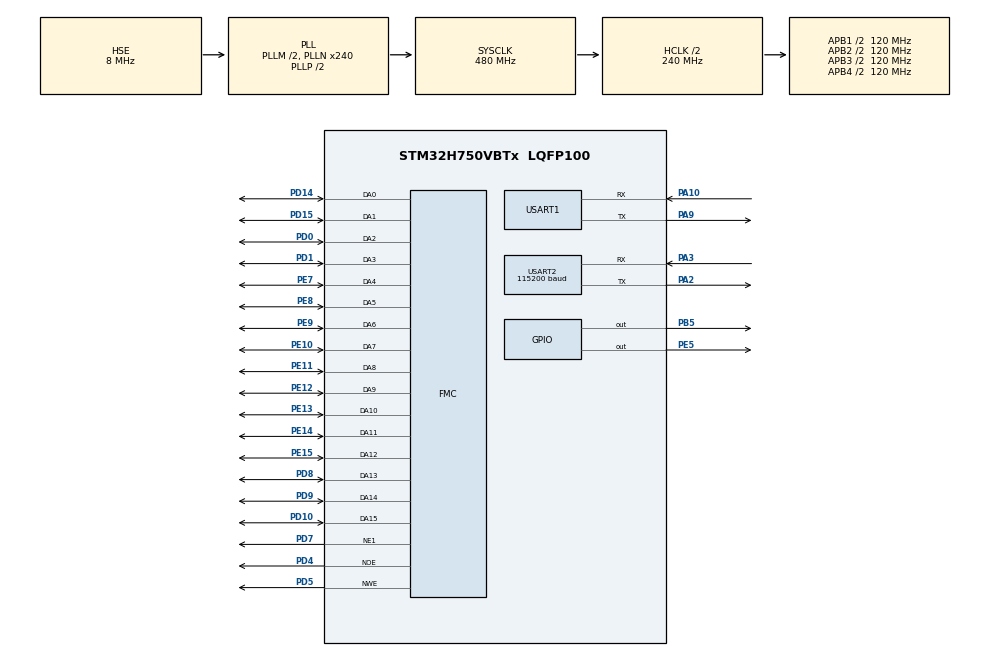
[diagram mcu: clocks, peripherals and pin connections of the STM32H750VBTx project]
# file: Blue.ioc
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ADC1.Channel-1\#ChannelRegularConversion=ADC_CHANNEL_10
ADC1.ClockPrescaler=ADC_CLOCK_ASYNC_DIV32
ADC1.ConversionDataManagement=ADC_CONVERSIONDATA_DR
ADC1.NbrOfConversionFlag=1
ADC1.OffsetNumber-1\#ChannelRegularConversion=ADC_OFFSET_NONE
ADC1.OffsetSignedSaturation-1\#ChannelRegularConversion=DISABLE
ADC1.Rank-1\#ChannelRegularConversion=1
ADC1.SamplingTime-1\#ChannelRegularConversion=ADC_SAMPLETIME_810CYCLES_5
ADC1.master=1
CORTEX_M7.default_mode_Activation=1
Mcu.Family=STM32H7
Mcu.Name=STM32H750VBTx
Mcu.Package=LQFP100
NVIC.PriorityGroup=NVIC_PRIORITYGROUP_4
NVIC.USART1_IRQn=true\:5\:0\:false\:false\:true\:true\:true\:true
PA10.Mode=Asynchronous
PA10.Signal=USART1_RX
PC0.Signal=ADC1_IN10
PA2.Mode=Asynchronous
PA2.Signal=USART2_TX
PA3.Mode=Asynchronous
PA3.Signal=USART2_RX
PA9.Mode=Asynchronous
PA9.Signal=USART1_TX
PB5.Signal=GPIO_Output
PD0.Signal=FMC_D2_DA2
PD1.Signal=FMC_D3_DA3
PD10.Signal=FMC_D15_DA15
PD14.Signal=FMC_D0_DA0
PD15.Signal=FMC_D1_DA1
PD4.Signal=FMC_NOE
PD5.Signal=FMC_NWE
PD7.Mode=NorPsramChipSelect1_1
PD7.Signal=FMC_NE1
PD8.Signal=FMC_D13_DA13
PD9.Signal=FMC_D14_DA14
PE10.Signal=FMC_D7_DA7
PE11.Signal=FMC_D8_DA8
PE12.Signal=FMC_D9_DA9
PE13.Signal=FMC_D10_DA10
PE14.Signal=FMC_D11_DA11
PE15.Signal=FMC_D12_DA12
PE3.Signal=FMC_A19
PE5.Signal=GPIO_Output
PE7.Signal=FMC_D4_DA4
PE8.Signal=FMC_D5_DA5
PE9.Signal=FMC_D6_DA6
PH0-OSC_IN\ (PH0).Mode=HSE-External-Oscillator
PH0-OSC_IN\ (PH0).Signal=RCC_OSC_IN
PH1-OSC_OUT\ (PH1).Mode=HSE-External-Oscillator
PH1-OSC_OUT\ (PH1).Signal=RCC_OSC_OUT
ProjectManager.HeapSize=0x200
ProjectManager.StackSize=0x400
ProjectManager.TargetToolchain=MDK-ARM V5.32
RCC.ADCFreq_Value=220000000
RCC.APB1Freq_Value=120000000
RCC.APB2Freq_Value=120000000
RCC.APB3Freq_Value=120000000
RCC.APB4Freq_Value=120000000
RCC.CortexFreq_Value=480000000
RCC.D1PPRE=RCC_APB3_DIV2
RCC.D2PPRE1=RCC_APB1_DIV2
RCC.D2PPRE2=RCC_APB2_DIV2
RCC.D3PPRE=RCC_APB4_DIV2
RCC.DIVM1=2
RCC.DIVM2=8
RCC.DIVN1=240
RCC.DIVN2=440
RCC.FMCCLockSelection=RCC_FMCCLKSOURCE_PLL2
RCC.HCLKFreq_Value=240000000
RCC.HPRE=RCC_HCLK_DIV2
RCC.HSE_VALUE=8000000
RCC.PLLSourceVirtual=RCC_PLLSOURCE_HSE
RCC.SYSCLKFreq_VALUE=480000000
RCC.SYSCLKSource=RCC_SYSCLKSOURCE_PLLCLK
RCC.USBFreq_Value=480000000
SH.FMC_A19.0=FMC_A19
SH.FMC_D0_DA0.0=FMC_DA0,16b-da1
SH.FMC_D10_DA10.0=FMC_DA10,16b-da1
SH.FMC_D11_DA11.0=FMC_DA11,16b-da1
SH.FMC_D12_DA12.0=FMC_DA12,16b-da1
SH.FMC_D13_DA13.0=FMC_DA13,16b-da1
SH.FMC_D14_DA14.0=FMC_DA14,16b-da1
SH.FMC_D15_DA15.0=FMC_DA15,16b-da1
SH.FMC_D1_DA1.0=FMC_DA1,16b-da1
SH.FMC_D2_DA2.0=FMC_DA2,16b-da1
SH.FMC_D3_DA3.0=FMC_DA3,16b-da1
SH.FMC_D4_DA4.0=FMC_DA4,16b-da1
SH.FMC_D5_DA5.0=FMC_DA5,16b-da1
SH.FMC_D6_DA6.0=FMC_DA6,16b-da1
SH.FMC_D7_DA7.0=FMC_DA7,16b-da1
SH.FMC_D8_DA8.0=FMC_DA8,16b-da1
SH.FMC_D9_DA9.0=FMC_DA9,16b-da1
SH.FMC_NOE.0=FMC_NOE,MuxedPsram1
SH.FMC_NWE.0=FMC_NWE,MuxedPsram1
USART1.VirtualMode-Asynchronous=VM_ASYNC
USART2.BaudRate=115200
USART2.VirtualMode-Asynchronous=VM_ASYNC
USART2.WordLength=UART_WORDLENGTH_8B
USART2.StopBits=UART_STOPBITS_1
USART2.Parity=UART_PARITY_NONE
USART2.Mode=UART_MODE_TX_RX
USART2.OverSampling=UART_OVERSAMPLING_16
USART2.OneBitSampling=UART_ONE_BIT_SAMPLE_DISABLE
USART2.ClockPrescaler=UART_PRESCALER_DIV1
VP_MEMORYMAP_VS_MEMORYMAP.Mode=CurAppReg
board=custom

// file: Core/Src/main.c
/* USER CODE BEGIN Header */
/**
  ******************************************************************************
  * @file           : main.c
  * @brief          : Main program body
  ******************************************************************************
  * @attention
  *
  * Copyright (c) 2026 STMicroelectronics.
  * All rights reserved.
  *
  * This software is licensed under terms that can be found in the LICENSE file
  * in the root directory of this software component.
  * If no LICENSE file comes with this software, it is provided AS-IS.
  *
  ******************************************************************************
  */
/* USER CODE END Header */
#include "main.h"
#include "usart.h"
#include "gpio.h"
#include "fmc.h"
#include "adc.h"

/* USER CODE BEGIN Includes */
#include <stdio.h>
#include "lcd.h"
#include "led.h"
#include "mpu.h"
#include "Delay.h"
#include "BoardComm_User.h"
#include "LcrAuto_User.h"
#include "LcrDualAdc_User.h"
#include "LcrCalibration_User.h"
#include "UsbCdc_User.h"
#include "SpectrumDisplay_User.h"
#include "AGC_DAC_User.h"
#include "FpgaUart_User.h"
#include "BluetoothLink_User.h"
/* USER CODE END Includes */

void SystemClock_Config(void);
static void MPU_Config(void);

/* USER CODE BEGIN 0 */
static char HexNibble(uint8_t value)
{
  value &= 0x0FU;
  return (value < 10U) ? (char)('0' + value) : (char)('A' + value - 10U);
}

static char PrintableChar(uint8_t value)
{
  return ((value >= 0x20U) && (value <= 0x7EU)) ? (char)value : '.';
}

static void FormatPayloadHex(char *line, uint8_t line_size, const uint8_t *data, uint8_t len)
{
  uint8_t pos = 0;
  uint8_t show_len = len;

  if ((line == 0) || (line_size == 0U))
  {
    return;
  }

  if (show_len > 8U)
  {
    show_len = 8U;
  }

  line[pos++] = 'D';
  line[pos++] = ':';

  if (show_len == 0U)
  {
    if (pos < (line_size - 1U))
    {
      line[pos++] = '-';
    }
  }

  for (uint8_t i = 0; (i < show_len) && ((pos + 3U) < line_size); i++)
  {
    if (i != 0U)
    {
      line[pos++] = ' ';
    }

    line[pos++] = HexNibble(data[i] >> 4);
    line[pos++] = HexNibble(data[i]);
  }

  if ((len > show_len) && ((pos + 3U) < line_size))
  {
    line[pos++] = '.';
    line[pos++] = '.';
    line[pos++] = '.';
  }

  line[pos] = '\0';
}

static uint8_t IsDigitKey(char key)
{
  return ((key >= '0') && (key <= '9')) ? 1U : 0U;
}

/* USER CODE END 0 */

int main(void)
{

  /* MPU Configuration--------------------------------------------------------*/
  MPU_Config();

  /* MCU Configuration--------------------------------------------------------*/

  /* Reset of all peripherals, Initializes the Flash interface and the Systick. */
  HAL_Init();

  /* USER CODE BEGIN Init */
  SCB_EnableICache();
  SCB_EnableDCache();
  SCB->CACR |= 1 << 2;    /* 强制D-Cache透写 */
  /* USER CODE END Init */

  /* Configure the system clock */
  SystemClock_Config();

  /* Initialize all configured peripherals */
  MX_GPIO_Init();
  MX_FMC_Init();
  MX_USART1_UART_Init();
  MX_USART2_UART_Init();
  MX_ADC1_Init();
  /* USER CODE BEGIN 2 */
  Delay_Init();
  led_init();
  mpu_memory_protection();
  lcd_init();
  (void)AGC_DAC_Init();
  LcrDualAdc_Init();
  LcrAuto_Init();
  LcrCalibration_Init();
  (void)UsbCdc_Init();
  BoardComm_Init();
  (void)BoardComm_StartReceiveToIdleIT();
  FpgaUart_Init();

	lcd_display_dir(1);

	/* Target AGC output is 1 V; the fitted transfer function sets PA5 to about 2.034 V. */
	AGC_DAC_SetTargetOutputMv(1000.0f);
  BluetoothLink_Init();
  /* USER CODE END 2 */

  /* Infinite loop */
  while (1)
  {

    /* USER CODE BEGIN 3 */
    BoardComm_ProcessTask();
    LcrAuto_Task();
    LcrCalibration_Task();
    LcrCalibration_UsbTask();
    UsbCdc_Task();
    FpgaUart_Task();
    BluetoothLink_Task();
    HAL_Delay(10);
  }
  /* USER CODE END 3 */
}

void SystemClock_Config(void)
{
  RCC_OscInitTypeDef RCC_OscInitStruct = {0};
  RCC_ClkInitTypeDef RCC_ClkInitStruct = {0};

  /** Supply configuration update enable
  */
  HAL_PWREx_ConfigSupply(PWR_LDO_SUPPLY);

  /** Configure the main internal regulator output voltage
  */
  __HAL_PWR_VOLTAGESCALING_CONFIG(PWR_REGULATOR_VOLTAGE_SCALE0);

  while(!__HAL_PWR_GET_FLAG(PWR_FLAG_VOSRDY)) {}

  /** Initializes the RCC Oscillators according to the specified parameters
  * in the RCC_OscInitTypeDef structure.
  */
  RCC_OscInitStruct.OscillatorType = RCC_OSCILLATORTYPE_HSE;
  RCC_OscInitStruct.HSEState = RCC_HSE_ON;
  RCC_OscInitStruct.PLL.PLLState = RCC_PLL_ON;
  RCC_OscInitStruct.PLL.PLLSource = RCC_PLLSOURCE_HSE;
  RCC_OscInitStruct.PLL.PLLM = 2;
  RCC_OscInitStruct.PLL.PLLN = 240;
  RCC_OscInitStruct.PLL.PLLP = 2;
  RCC_OscInitStruct.PLL.PLLQ = 2;
  RCC_OscInitStruct.PLL.PLLR = 2;
  RCC_OscInitStruct.PLL.PLLRGE = RCC_PLL1VCIRANGE_2;
  RCC_OscInitStruct.PLL.PLLVCOSEL = RCC_PLL1VCOWIDE;
  RCC_OscInitStruct.PLL.PLLFRACN = 0;
  if (HAL_RCC_OscConfig(&RCC_OscInitStruct) != HAL_OK)
  {
    Error_Handler();
  }

  /** Initializes the CPU, AHB and APB buses clocks
  */
  RCC_ClkInitStruct.ClockType = RCC_CLOCKTYPE_HCLK|RCC_CLOCKTYPE_SYSCLK
                              |RCC_CLOCKTYPE_PCLK1|RCC_CLOCKTYPE_PCLK2
                              |RCC_CLOCKTYPE_D3PCLK1|RCC_CLOCKTYPE_D1PCLK1;
  RCC_ClkInitStruct.SYSCLKSource = RCC_SYSCLKSOURCE_PLLCLK;
  RCC_ClkInitStruct.SYSCLKDivider = RCC_SYSCLK_DIV1;
  RCC_ClkInitStruct.AHBCLKDivider = RCC_HCLK_DIV2;
  RCC_ClkInitStruct.APB3CLKDivider = RCC_APB3_DIV2;
  RCC_ClkInitStruct.APB1CLKDivider = RCC_APB1_DIV2;
  RCC_ClkInitStruct.APB2CLKDivider = RCC_APB2_DIV2;
  RCC_ClkInitStruct.APB4CLKDivider = RCC_APB4_DIV2;

  if (HAL_RCC_ClockConfig(&RCC_ClkInitStruct, FLASH_LATENCY_4) != HAL_OK)
  {
    Error_Handler();
  }
}

 /* MPU Configuration */

void MPU_Config(void)
{
  /* MPU will be configured later, after peripheral init */
}

void Error_Handler(void)
{
  __disable_irq();
  while (1)
  {
  }
}
